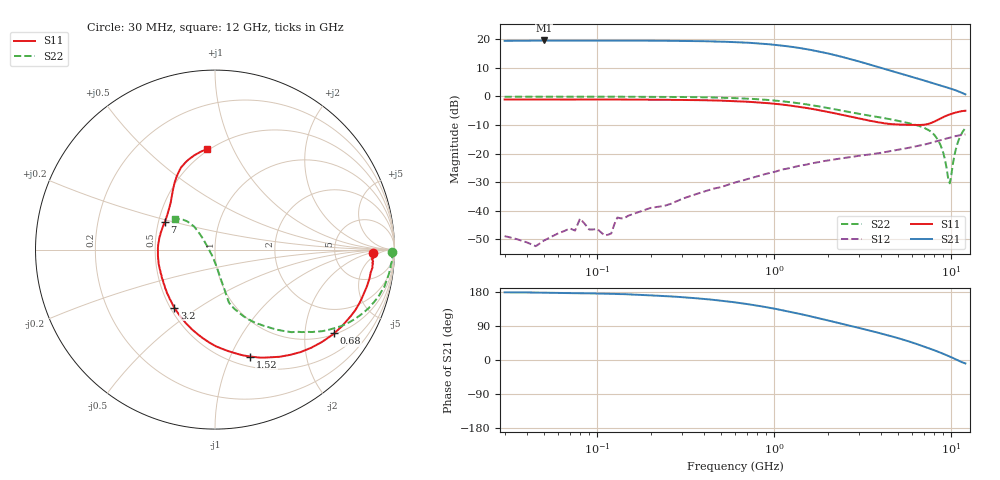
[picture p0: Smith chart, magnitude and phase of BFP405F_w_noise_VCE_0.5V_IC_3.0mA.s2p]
! Infineon Technologies  Discrete & RF Semiconductors
! BFP405F
! VCE =  0.5 V,  IC =  3.0 mA
! Common Emitter S-Parameters:  Nov 2015
# GHz  S  MA  R  50
!  f  S11  S21  S12  S22
! GHz  MAG  ANG  MAG  ANG  MAG  ANG  MAG  ANG
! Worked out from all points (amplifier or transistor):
!   239 points, 30 MHz to 12 GHz, reference 50 ohm
!   highest |S21| = 19.6 dB at 50 MHz (marker M1)
!   |S21| within 3 dB of that: start of sweep to 1.507 GHz
!   unconditionally stable (mu >= 1): 3.322 GHz to end of sweep
!   at 300 MHz: K = 0.08, MSG = 27.7 dB, |S12| = -35.9 dB
!   at 1.88 GHz: K = 0.56, MSG = 19.1 dB, |S12| = -22.7 dB
!   at 12 GHz: K = 1.55, MAG = 2.6 dB, |S12| = -13.3 dB
!   lowest NFmin = 1.11 dB at 450 MHz
!   S11 on the Smith chart (normalised r, x): 30 MHz: 15, -3; 680 MHz: 1.04, -2.83; 1.52 GHz: 0.61, -1.19; 3.2 GHz: 0.53, -0.40; 7 GHz: 0.54, +0.18; 12 GHz: 0.49, +0.80
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0.03  0.8825 -1.4  9.368 178.5  0.0036 116.3  0.9846 -0.8
0.05  0.8827 -3.2  9.507 177.5  0.003 39.6  0.9909 -1.7
0.08  0.8834 -4.3  9.383 175.9  0.0073 100.1  0.9881 -2.4
0.085  0.8814 -4.5  9.418 175.9  0.0059 92.5  0.9883 -2.6
0.115  0.8823 -6.2  9.404 174.8  0.0038 87.3  0.989 -3.6
0.13  0.8811 -6.9  9.407 174.0  0.0076 87.5  0.9862 -4.1
0.24  0.8727 -12.7  9.393 168.7  0.0122 86.7  0.9794 -7.5
0.4  0.8567 -21.0  9.226 161.2  0.0215 79.9  0.9659 -12.4
0.6  0.826 -31.2  8.89 152.1  0.0312 75.2  0.933 -18.3
0.68  0.8115 -35.0  8.747 148.7  0.0346 72.8  0.9184 -20.5
1.04  0.7346 -51.7  7.882 134.0  0.0495 64.0  0.8375 -29.7
1.3  0.6744 -63.0  7.241 124.5  0.0587 59.0  0.7756 -35.2
1.52  0.627 -71.8  6.699 117.7  0.0641 55.7  0.7253 -39.1
1.64  0.6029 -76.3  6.416 114.2  0.0677 54.2  0.6992 -41.0
2.28  0.4936 -98.8  5.129 98.2  0.0806 46.5  0.5819 -50.8
3.2  0.3943 -125.0  3.862 81.4  0.0934 40.7  0.4789 -59.8
4.5  0.3301 -156.4  2.848 63.8  0.1095 37.0  0.3998 -67.1
7  0.319 151.6  1.899 35.5  0.1433 30.6  0.2834 -75.5
8.6  0.4051 125.4  1.564 20.1  0.1703 25.6  0.1503 -79.7
9.8  0.4839 114.1  1.381 9.0  0.1905 20.4  0.0301 -162.5
10.6  0.5224 106.5  1.275 1.7  0.2025 16.3  0.1189 134.4
12  0.5606 94.3  1.085 -9.0  0.217 11.0  0.2817 142.2
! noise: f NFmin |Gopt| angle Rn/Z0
0.45  1.11  0.5  6  0.37
0.9  1.12  0.47  14  0.41
1.5  1.21  0.44  20  0.35
1.9  1.25  0.42  27  0.35
2.4  1.43  0.39  37  0.36
3  1.5  0.37  47  0.33
3.5  1.54  0.36  57  0.31
4.5  1.72  0.3  73  0.26
5.5  1.97  0.19  88  0.16
